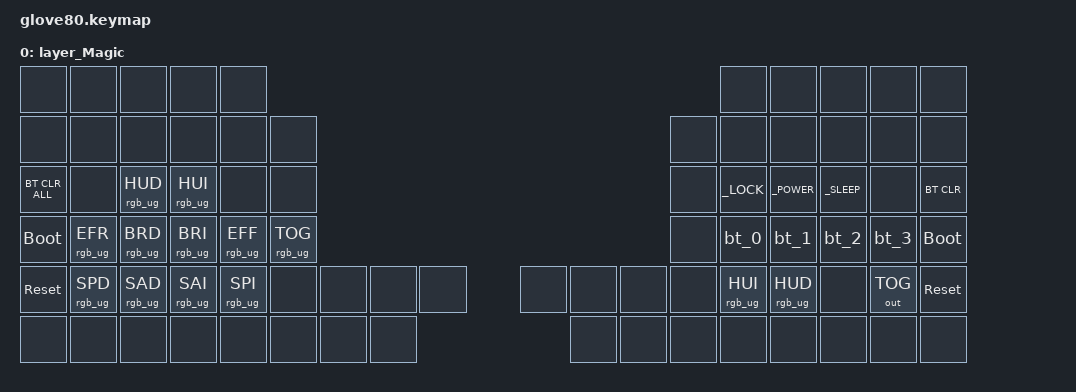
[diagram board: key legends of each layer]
/* Glove80 wrapper with RGB status and Magic layer wiring. */

#include <zmk-helpers/key-labels/glove80.h>
#include <dt-bindings/zmk/rgb.h>

#define ___ &none
#define ZMK_BASE_LAYER(name, LT, RT, LM, RM, LB, RB, LH, RH) \
    ZMK_LAYER(name, \
        ___ ___ ___ ___ ___                                     ___ ___ ___ ___ ___ \
        ___ ___ ___ ___ ___ ___                             ___ ___ ___ ___ ___ ___ \
        ___                 LT                              RT                  ___ \
        ___                 LM                              RM                  ___ \
        ___                 LB  ___ ___ ___ ___ ___ ___     RB                  ___ \
        &magic LAYER_Magic 0 ___ ___ ___ ___ LH ___ ___ RH ___ ___ ___ ___ &magic LAYER_Magic 0 \
    )

#define SKIP_SYSTEM_LAYER
#include "base.keymap"

/ {
    macros {
        rgb_ug_status_macro: rgb_ug_status_macro {
            label = "RGB_UG_STATUS";
            compatible = "zmk,behavior-macro";
            #binding-cells = <0>;
            bindings = <&rgb_ug RGB_STATUS>;
        };
    };

    behaviors {
        magic: magic {
            compatible = "zmk,behavior-hold-tap";
            label = "MAGIC_HOLD_TAP";
            #binding-cells = <2>;
            flavor = "tap-preferred";
            tapping-term-ms = <200>;
            bindings = <&mo>, <&rgb_ug_status_macro>;
        };
    };

    keymap {
        compatible = "zmk,keymap";

        layer_Magic {
            bindings = <
          ___              ___              ___              ___              ___                                                                                        ___         ___         ___           ___          ___
          ___              ___              ___              ___              ___              ___                                                            ___         ___         ___         ___           ___          ___
 &bt BT_CLR_ALL            ___  &rgb_ug RGB_HUD  &rgb_ug RGB_HUI              ___              ___                                                            ___    &kp _LOCK  &kp _POWER  &kp _SLEEP    ___   &bt BT_CLR
    &bootloader  &rgb_ug RGB_EFR  &rgb_ug RGB_BRD  &rgb_ug RGB_BRI  &rgb_ug RGB_EFF  &rgb_ug RGB_TOG                                                            ___        &bt_0       &bt_1       &bt_2         &bt_3  &bootloader
     &sys_reset  &rgb_ug RGB_SPD  &rgb_ug RGB_SAD  &rgb_ug RGB_SAI  &rgb_ug RGB_SPI              ___   ___   ___   ___   ___   ___   ___        ___  &rgb_ug RGB_HUI  &rgb_ug RGB_HUD         ___  &out OUT_TOG   &sys_reset
          ___              ___              ___              ___              ___                        ___   ___   ___   ___   ___   ___                      ___         ___         ___           ___          ___
            >;
        };

    };
};
